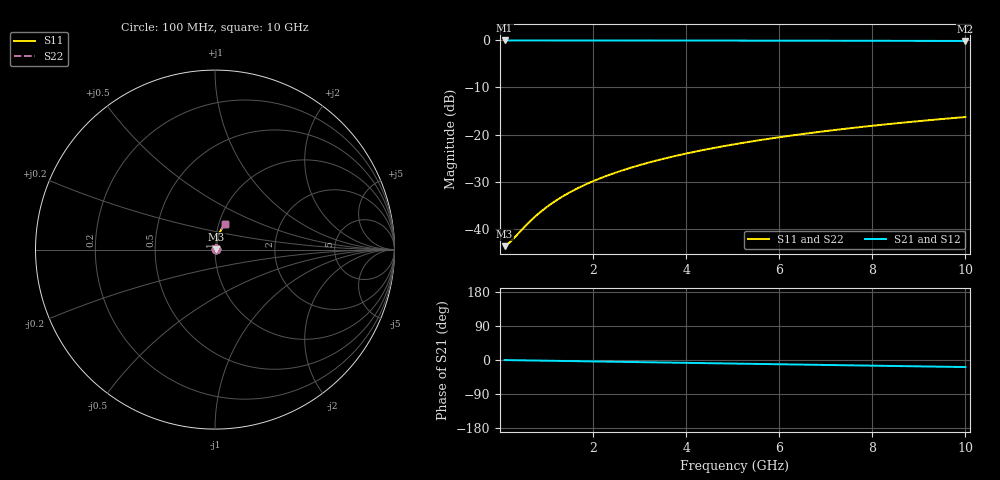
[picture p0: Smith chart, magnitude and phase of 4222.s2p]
# Hz S RI R 50.00
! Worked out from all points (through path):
!   100 points, 100 MHz to 10 GHz, reference 50 ohm
!   highest |S21| = -0.06 dB at 100 MHz (marker M1); lowest = -0.2 dB at 10 GHz (marker M2)
!   group delay of S21, straight-line fit = 5.17 ps
!   lowest |S11| = -43.6 dB at 100 MHz (marker M3), VSWR 1.01, Z = 50.6 + j0.158 ohm
!   |S11| at or under -10 dB: start of sweep to end of sweep
!   |S22| runs from -43.6 to -16.2 dB; largest |S21 - S12| = 0
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1e8  0.00645 0.00156  0.9935 -0.00325  0.9935 -0.00325  0.00645 0.00156
2e8  0.00651 0.00312  0.9935 -0.0065  0.9935 -0.0065  0.00651 0.00312
3e8  0.00656 0.00467  0.9934 -0.00975  0.9934 -0.00975  0.00656 0.00467
5e8  0.00669 0.00779  0.9933 -0.0162  0.9933 -0.0162  0.00669 0.00779
7e8  0.00685 0.0109  0.9931 -0.0227  0.9931 -0.0227  0.00685 0.0109
8e8  0.00694 0.0125  0.993 -0.026  0.993 -0.026  0.00694 0.0125
1e9  0.00715 0.0156  0.9927 -0.0325  0.9927 -0.0325  0.00715 0.0156
1.2e9  0.0074 0.0187  0.9924 -0.039  0.9924 -0.039  0.0074 0.0187
1.4e9  0.00769 0.0218  0.992 -0.0455  0.992 -0.0455  0.00769 0.0218
1.6e9  0.00801 0.0249  0.9916 -0.0519  0.9916 -0.0519  0.00801 0.0249
1.8e9  0.00838 0.028  0.9911 -0.0584  0.9911 -0.0584  0.00838 0.028
2.1e9  0.009 0.0326  0.9903 -0.0681  0.9903 -0.0681  0.009 0.0326
2.5e9  0.00996 0.0387  0.9891 -0.081  0.9891 -0.081  0.00996 0.0387
2.9e9  0.0111 0.0448  0.9877 -0.0939  0.9877 -0.0939  0.0111 0.0448
3.4e9  0.0127 0.0524  0.9856 -0.11  0.9856 -0.11  0.0127 0.0524
4.2e9  0.0158 0.0644  0.9816 -0.1356  0.9816 -0.1356  0.0158 0.0644
5.1e9  0.02 0.0777  0.9761 -0.1641  0.9761 -0.1641  0.02 0.0777
5.9e9  0.0244 0.0893  0.9705 -0.1892  0.9705 -0.1892  0.0244 0.0893
6.7e9  0.0294 0.1006  0.964 -0.214  0.964 -0.214  0.0294 0.1006
7.5e9  0.035 0.1116  0.9568 -0.2386  0.9568 -0.2386  0.035 0.1116
8.4e9  0.0418 0.1235  0.9478 -0.2658  0.9478 -0.2658  0.0418 0.1235
1e10  0.0557 0.1436  0.9296 -0.3131  0.9296 -0.3131  0.0557 0.1436
